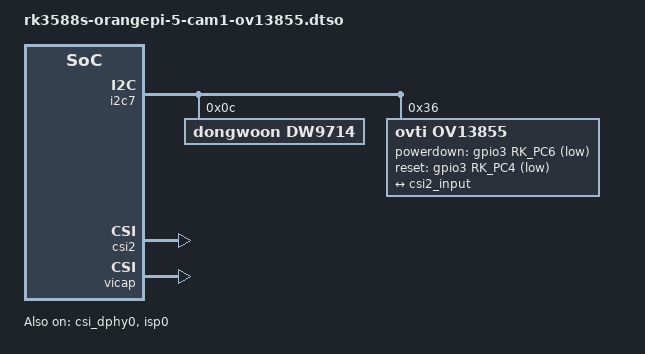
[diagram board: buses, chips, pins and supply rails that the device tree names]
// SPDX-License-Identifier: (GPL-2.0+ OR MIT)
/*
 * Device tree overlay for the Xunlong OV13855 camera module (CMK-OT2016-FV1,
 * with a DW9714 voice coil motor) on the CAM1 connector of the Orange Pi 5.
 *
 * CAM1 is wired to MIPI CSI D-PHY 0 (csi_dphy0, full mode) which feeds the
 * MIPI CSI-2 receiver csi2 and VICAP port mipi2. The sensor control bus is
 * I2C7 (M0 pins), the master clock is CLK_MIPI_CAMARAOUT_M3 on GPIO1_D6,
 * the sensor reset line is GPIO3_C4 and the power-down line is GPIO3_C6.
 * This mapping is taken from the Xunlong vendor kernel
 * (rk3588s-orangepi-5-camera1.dtsi). Both control lines are active low at
 * the sensor (RESETB, XSHUTDOWN); the vendor tree describes them as active
 * high because its driver drives the physical level.
 *
 * The module has no switchable supplies on the Orange Pi 5, so none are
 * described.
 *
 * There is no "ovti,ov13855" driver or binding in mainline yet; this overlay
 * is the board description for when one is available. The DW9714 lens
 * driver is supported by the mainline dw9714 driver.
 */

/dts-v1/;
/plugin/;

#include <dt-bindings/clock/rockchip,rk3588-cru.h>
#include <dt-bindings/gpio/gpio.h>
#include <dt-bindings/media/video-interfaces.h>
#include <dt-bindings/pinctrl/rockchip.h>

&i2c7 {
	#address-cells = <1>;
	#size-cells = <0>;
	pinctrl-names = "default";
	pinctrl-0 = <&i2c7m0_xfer>;
	status = "okay";

	dw9714: lens@c {
		compatible = "dongwoon,dw9714";
		reg = <0x0c>;
	};

	ov13855: camera-sensor@36 {
		compatible = "ovti,ov13855";
		reg = <0x36>;
		assigned-clocks = <&cru CLK_MIPI_CAMARAOUT_M3>;
		assigned-clock-rates = <24000000>;
		clocks = <&cru CLK_MIPI_CAMARAOUT_M3>;
		pinctrl-names = "default";
		pinctrl-0 = <&mipim0_camera3_clk &cam1_rstn &cam1_pdn>;
		powerdown-gpios = <&gpio3 RK_PC6 GPIO_ACTIVE_LOW>;
		reset-gpios = <&gpio3 RK_PC4 GPIO_ACTIVE_LOW>;
		lens-focus = <&dw9714>;
		orientation = <1>;

		/* link frequency of the 2-lane mode of the Rockchip vendor driver */
		port {
			ov13855_output: endpoint {
				data-lanes = <1 2>;
				link-frequencies = /bits/ 64 <540000000>;
				remote-endpoint = <&csi2_input>;
			};
		};
	};
};

&pinctrl {
	cam1 {
		cam1_pdn: cam1-pdn-pinctrl {
			rockchip,pins = <3 RK_PC6 RK_FUNC_GPIO &pcfg_pull_none>;
		};

		cam1_rstn: cam1-rstn-pinctrl {
			rockchip,pins = <3 RK_PC4 RK_FUNC_GPIO &pcfg_pull_none>;
		};
	};
};

&csi_dphy0 {
	status = "okay";
};

&csi2 {
	status = "okay";
};

&csi2_in {
	csi2_input: endpoint {
		bus-type = <MEDIA_BUS_TYPE_CSI2_DPHY>;
		data-lanes = <1 2>;
		link-frequencies = /bits/ 64 <540000000>;
		remote-endpoint = <&ov13855_output>;
	};
};

&vicap {
	status = "okay";
};

&vicap_mmu {
	status = "okay";
};

&isp0 {
	status = "okay";
};

&isp0_mmu {
	status = "okay";
};
